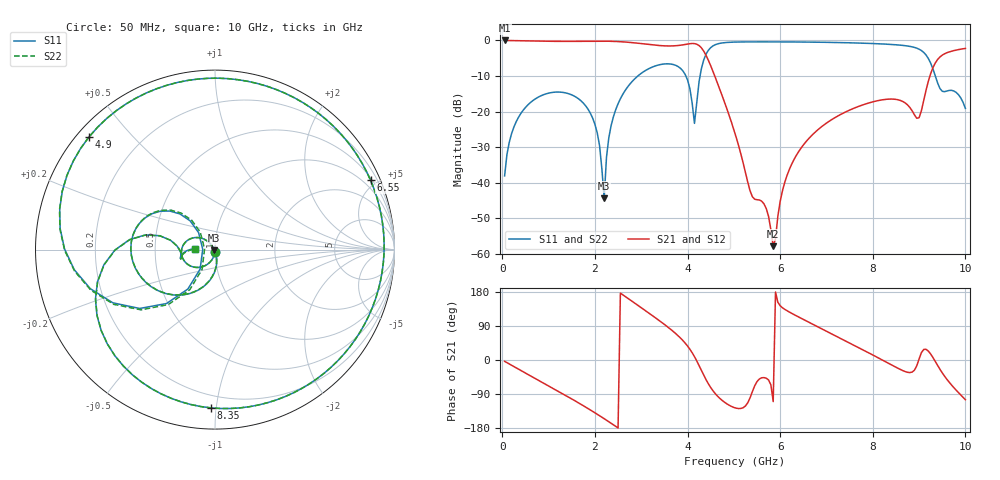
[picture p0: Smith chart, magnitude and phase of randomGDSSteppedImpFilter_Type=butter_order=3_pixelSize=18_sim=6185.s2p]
! freq	dB(S11)	phase(S11)	dB(S12)	phase(S12)
!  dB(S21)	phase(S21)	dB(S22)	phase(S22)
!S-par simulation data
#  GHz  S  DB  R 50
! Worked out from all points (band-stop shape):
!   200 points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, 50 MHz to 10 GHz, reference 50 ohm
!   highest |S21| = -0.01 dB at 50 MHz (marker M1); lowest = -57.8 dB at 5.85 GHz (marker M2)
!   |S21| within 3 dB of the highest: start of sweep to 4.349 GHz; 9.707 GHz to end of sweep
!   lowest |S11| = -44.4 dB at 2.2 GHz (marker M3), VSWR 1.01, Z = 49.6 - j0.412 ohm
!   |S11| at or under -10 dB: start of sweep to 2.927 GHz; 3.964 GHz to 4.271 GHz (307 MHz wide, 7.46 % of centre); 9.351 GHz to end of sweep
!   |S22| runs from -43.7 to -0.4 dB; largest |S21 - S12| = 0
!   S11 on the Smith chart (normalised r, x): 50 MHz: 1.00, -0.02; 4.9 GHz: 0.03, +0.38; 6.55 GHz: 0.60, +4.62; 8.35 GHz: 0.12, -0.97; 10 GHz: 0.80, +0.01
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0.05  -38.07 -92.8  -0.01 -3.5  -0.01 -3.5  -38.07 -92.8
0.2  -26.22 -103.7  -0.03 -13.9  -0.03 -13.9  -26.22 -103.7
0.6  -17.54 -131.7  -0.13 -41.2  -0.13 -41.2  -17.54 -131.7
1.75  -17.62 149.5  -0.23 -120.6  -0.23 -120.6  -17.62 149.6
2.05  -25.97 129.2  -0.19 -143.1  -0.19 -143.1  -25.96 129.8
2.2  -44.37 -136.5  -0.20 -154.9  -0.20 -154.9  -43.74 -136.2
2.3  -27.35 -78.1  -0.22 -162.9  -0.22 -162.9  -27.34 -79.2
2.5  -17.79 -91.6  -0.32 -179.3  -0.32 -179.3  -17.79 -92.1
3.4  -6.82 -167.1  -1.44 103.1  -1.44 103.1  -6.82 -167.5
3.95  -9.59 139.6  -1.13 44.4  -1.13 44.4  -9.61 138.3
4.15  -23.31 178.3  -0.89 8.8  -0.89 8.8  -24.70 177.0
4.4  -3.85 -152.5  -4.20 -52.0  -4.20 -52.0  -3.87 -151.6
4.9  -0.52 138.2  -21.12 -119.5  -21.12 -119.5  -0.52 138.5
5.05  -0.45 125.3  -27.21 -127.1  -27.21 -127.1  -0.45 125.5
5.85  -0.40 68.9  -57.83 -109.7  -57.83 -109.7  -0.40 69.0
6.1  -0.41 52.8  -39.86 133.6  -39.86 133.6  -0.41 52.8
6.55  -0.46 24.0  -28.59 104.0  -28.59 104.0  -0.46 24.1
6.7  -0.48 14.6  -26.47 94.6  -26.47 94.6  -0.48 14.6
8.35  -1.09 -91.5  -16.49 -9.3  -16.49 -9.3  -1.09 -91.5
9  -2.46 -150.8  -21.72 2.7  -21.72 2.7  -2.46 -150.7
9.45  -13.50 174.9  -4.65 -24.4  -4.65 -24.4  -13.60 175.3
10  -19.10 177.5  -2.24 -104.8  -2.24 -104.8  -19.02 179.5
